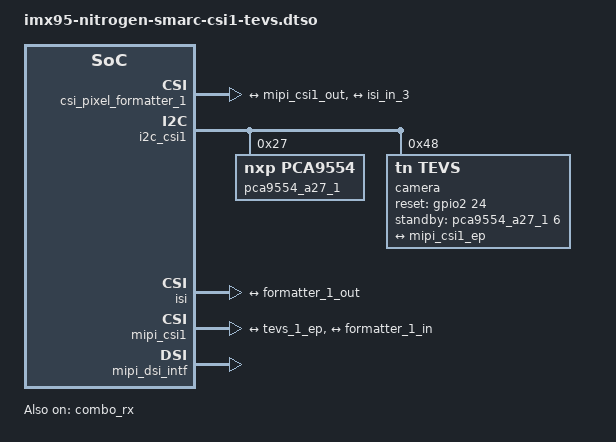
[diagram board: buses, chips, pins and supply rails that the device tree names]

// SPDX-License-Identifier: (GPL-2.0+ OR MIT)
/*
 * Copyright 2024 Ezurio LLC
 */

/dts-v1/;
/plugin/;

#include <dt-bindings/gpio/gpio.h>

#include "imx95-pinfunc.h"

&combo_rx {
	status = "okay";
};

&csi_pixel_formatter_1 {
	status = "okay";

	ports {
		#address-cells = <1>;
		#size-cells = <0>;

		port@0 {
			reg = <0>;

			formatter_1_in: endpoint {
				remote-endpoint = <&mipi_csi1_out>;
			};
		};

		port@1 {
			reg = <1>;

			formatter_1_out: endpoint {
				remote-endpoint = <&isi_in_3>;
			};
		};
	};
};

&display_stream_csr {
	status = "disabled";
};

&display_master_csr {
	status = "disabled";
};

&i2c_csi1 {
	#address-cells = <1>;
	#size-cells = <0>;
	status = "okay";

	pca9554_a27_1: pca9554@27 {
		compatible = "nxp,pca9554";
		pinctrl-names = "default";
		reg = <0x27>;
		gpio-controller;
		#gpio-cells = <2>;
		status = "okay";
		gpio-line-names = "EXPOSURE_TRIG_IN1", "FLASH_OUT1",
				"CAM_SHUTTER1", "XVS1",	"CSI1_PDB",
				"CSI1_INT", "INFO_TRIG_IN1", "CSI1_RST_N";
	};

	camera@48 {
		compatible = "tn,tevs";
		reg = <0x48>;
		pinctrl-names = "default";
		pinctrl-0 = <&pinctrl_csi1_camera>;
		reset-gpios = <&gpio2 24 GPIO_ACTIVE_HIGH>;
		standby-gpios = <&pca9554_a27_1 6 GPIO_ACTIVE_HIGH>;
		data-lanes = <4>;
		data-frequency = <800>;
		continuous-clock = <0>;
		status = "okay";

		port {
			tevs_1_ep: endpoint {
				remote-endpoint = <&mipi_csi1_ep>;
				data-lanes = <1 2 3 4>;
			};
		};
	};
};

&isi {
	status = "okay";

	ports {
		#address-cells = <1>;
		#size-cells = <0>;

		port@3 {
			reg = <3>;

			isi_in_3: endpoint {
				remote-endpoint = <&formatter_1_out>;
			};
		};
	};
};

&mipi_csi1 {
	status = "okay";

	ports {
		#address-cells = <1>;
		#size-cells = <0>;

		port@0 {
			reg = <0>;
			mipi_csi1_ep: endpoint {
				remote-endpoint = <&tevs_1_ep>;
				data-lanes = <1 2 3 4>;
				clock-lanes = <0>;
			};
		};

		port@1 {
			reg = <1>;
				mipi_csi1_out: endpoint {
				remote-endpoint = <&formatter_1_in>;
			};
		};
	};
};

&mipi_dsi_intf {
	status = "okay";
};

&mipi_tx_phy_csr {
	status = "disabled";
};

&scmi_iomuxc {
	pinctrl_csi1_camera: csi1-cameragrp {
		fsl,pins = <
			IMX95_PAD_GPIO_IO24__GPIO2_IO_BIT24	0x31e
		>;
	};
};
